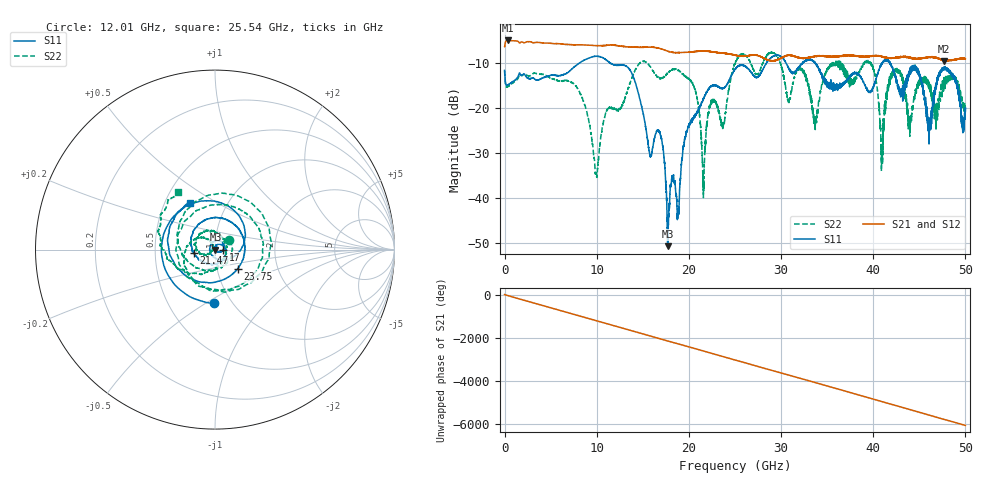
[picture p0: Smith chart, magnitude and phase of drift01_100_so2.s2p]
!Created with skrf (http://scikit-rf.org).
# Hz S RI R 50.0
!freq ReS11 ImS11 ReS21 ImS21 ReS12 ImS12 ReS22 ImS22
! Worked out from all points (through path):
!   10001 points, 300 kHz to 50 GHz, reference 50 ohm
!   highest |S21| = -5.05 dB at 360.3 MHz (marker M1); lowest = -9.6 dB at 47.67 GHz (marker M2)
!   group delay of S21, straight-line fit = 336 ps
!   lowest |S11| = -50.6 dB at 17.69 GHz (marker M3), VSWR 1.01, Z = 50.3 - j0.121 ohm
!   |S11| at or under -10 dB: start of sweep to 8.155 GHz; 11.43 GHz to 28.42 GHz (16.99 GHz wide, 85.3 % of centre); 41.8 GHz to end of sweep (the widest 3 of 12)
!   |S22| runs from -39.8 to -7.6 dB; largest |S21 - S12| = 0.014
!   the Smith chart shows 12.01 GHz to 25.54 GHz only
!   S11 on the Smith chart (normalised r, x): 12.01 GHz: 0.83, -0.54; 17 GHz: 1.10, -0.00; 21.47 GHz: 0.79, -0.03; 23.75 GHz: 1.25, -0.28; 25.54 GHz: 0.67, +0.38
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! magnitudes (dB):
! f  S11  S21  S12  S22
! 300 kHz  -11.7  -6.4  -6.5  -11.7
! 360.3 MHz  -14.9  -5.1  -5.1  -15.3
! 8.335 GHz  -9.8  -6.0  -6.0  -17.5
! 9.935 GHz  -8.6  -6.2  -6.2  -34.5
! 12.01 GHz  -10.5  -6.1  -6.2  -20.4
! 16.67 GHz  -24.9  -6.7  -6.7  -13.3
! 17 GHz  -26.6  -6.9  -6.9  -13.6
! 17.69 GHz  -50.6  -7.4  -7.4  -12.3
! 20.5 GHz  -22.3  -7.6  -7.5  -14.9
! 21.47 GHz  -18.6  -7.4  -7.4  -31.7
! 22.47 GHz  -15.1  -7.5  -7.6  -19.0
! 23.75 GHz  -15.6  -7.9  -7.8  -23.6
! 25 GHz  -11.4  -8.3  -8.4  -10.3
! 25.54 GHz  -10.6  -8.5  -8.5  -8.4
! 33.34 GHz  -9.4  -8.7  -8.7  -19.0
! 39.5 GHz  -16.5  -8.6  -8.6  -10.0
! 40.95 GHz  -10.1  -8.6  -8.6  -29.4
! 41.67 GHz  -9.7  -8.9  -9.0  -15.0
! 44.75 GHz  -11.7  -9.1  -9.1  -15.4
! 46.11 GHz  -24.2  -8.7  -8.8  -15.5
! 47.67 GHz  -11.2  -9.6  -9.5  -14.5
! 50 GHz  -20.6  -9.1  -9.1  -20.1
